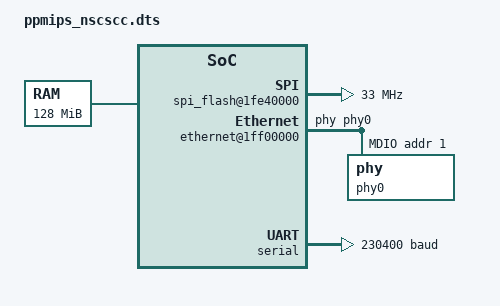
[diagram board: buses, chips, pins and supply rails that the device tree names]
/dts-v1/;

/ {

    #address-cells= <1>;
    #size-cells = <1>;

    compatible = "pp,soc_up";

    chosen {
        bootargs = "console=ttyS0,115200n8";
    };

    memory@0 {
        device_type = "memory";
        reg = <0x0 0x8000000>;
    };

    cpus {

        #address-cells= <1>;
        #size-cells = <0>;

        cpu@0 {
            device_type="cpu";
            compatible = "mips,4Kc";
            clock-frequency = <33000000>;
            reg = <0>;
          };
      };

    cpuintc: interrupt-controller {
        #address-cells = <0>;
        #interrupt-cells = <1>;
        interrupt-controller;
        compatible = "mti,cpu-interrupt-controller";
     };

    spi_flash@1fe40000 {
        compatible = "xlnx,xps-spi-2.00.a";
        reg = <0x1fe40000 0x10000>;
        interrupt-parent = <&cpuintc>;
        interrupts = <4>;
        clock-frequency = <33000000>;
    };

    axi_intc_0: interrupt-controller@1fe50000 {
        #interrupt-cells = <1>;
        compatible = "xlnx,xps-intc-1.00.a";
        interrupt-controller;
        interrupt-parent = <&cpuintc>;
        interrupts = <2>;
        reg = <0x1fe50000 0x10000>;
        xlnx,num-intr-inputs = <0x1>;
        xlnx,kind-of-intr = <0x1>;
    };

    ethernet@1ff00000 {
        compatible = "xlnx,axi-ethernetlite-3.0", "xlnx,xps-ethernetlite-1.00.a";
        local-mac-address = [00 0a 35 00 00 00];
        reg = <0x1ff00000 0x10000>;
        xlnx,duplex = <0x1>;
        xlnx,include-global-buffers = <0x1>;
        xlnx,include-internal-loopback = <0x0>;
        xlnx,include-mdio = <0x1>;
        xlnx,instance = "axi_ethernetlite_inst";
        xlnx,rx-ping-pong = <0x1>;
        xlnx,s-axi-id-width = <0x1>;
        xlnx,tx-ping-pong = <0x1>;
        xlnx,use-internal = <0x0>;
        interrupt-parent = <&axi_intc_0>;
        interrupts = <0>;
        phy-handle = <&phy0>;
        mdio {
				#address-cells = <1>;
				#size-cells = <0>;
				phy0: phy@1 {
					device_type = "ethernet-phy";
					reg = <1>;
				} ;
	    };
    };

    serial: serial@1fe41000 {
        compatible = "ns16550a";
        reg = <0x1fe41000 0x9000>;
        reg-shift = <2>;
        interrupt-parent = <&cpuintc>;
        interrupts = <3>;
        clock-frequency = <100000000>;
        current-speed = <230400>;
    };

    aliases {
        serial0 = &serial;
        console = &serial;
    };
};
